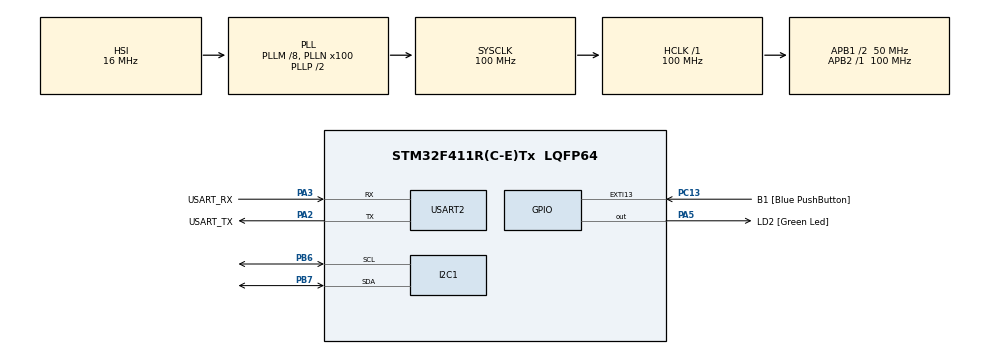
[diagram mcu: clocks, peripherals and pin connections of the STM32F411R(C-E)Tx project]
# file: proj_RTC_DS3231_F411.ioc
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Mcu.Family=STM32F4
Mcu.Name=STM32F411R(C-E)Tx
Mcu.Package=LQFP64
NVIC.PriorityGroup=NVIC_PRIORITYGROUP_0
PA13.GPIO_Label=TMS
PA13.Mode=Serial_Wire
PA13.Signal=SYS_JTMS-SWDIO
PA14.GPIO_Label=TCK
PA14.Mode=Serial_Wire
PA14.Signal=SYS_JTCK-SWCLK
PA2.GPIO_Label=USART_TX
PA2.Mode=Asynchronous
PA2.Signal=USART2_TX
PA3.GPIO_Label=USART_RX
PA3.Mode=Asynchronous
PA3.Signal=USART2_RX
PA5.GPIO_Label=LD2 [Green Led]
PA5.Signal=GPIO_Output
PB3.GPIO_Label=SWO
PB3.Signal=SYS_JTDO-SWO
PB6.Mode=I2C
PB6.Signal=I2C1_SCL
PB7.Mode=I2C
PB7.Signal=I2C1_SDA
PC13-ANTI_TAMP.GPIO_Label=B1 [Blue PushButton]
PC13-ANTI_TAMP.GPIO_ModeDefaultEXTI=GPIO_MODE_IT_FALLING
PC13-ANTI_TAMP.Signal=GPXTI13
PC14-OSC32_IN.Mode=LSE-External-Oscillator
PC14-OSC32_IN.Signal=RCC_OSC32_IN
PC15-OSC32_OUT.Mode=LSE-External-Oscillator
PC15-OSC32_OUT.Signal=RCC_OSC32_OUT
PH0\ -\ OSC_IN.Mode=HSE-External-Clock-Source
PH0\ -\ OSC_IN.Signal=RCC_OSC_IN
PH1\ -\ OSC_OUT.Mode=HSE-External-Clock-Source
PH1\ -\ OSC_OUT.Signal=RCC_OSC_OUT
ProjectManager.HeapSize=0x200
ProjectManager.StackSize=0x400
ProjectManager.TargetToolchain=STM32CubeIDE
RCC.48MHZClocksFreq_Value=50000000
RCC.AHBFreq_Value=100000000
RCC.APB1CLKDivider=RCC_HCLK_DIV2
RCC.APB1Freq_Value=50000000
RCC.APB1TimFreq_Value=100000000
RCC.APB2Freq_Value=100000000
RCC.APB2TimFreq_Value=100000000
RCC.CortexFreq_Value=100000000
RCC.FLatency-AdvancedSettings=FLASH_LATENCY_3
RCC.HCLKFreq_Value=100000000
RCC.HSE_VALUE=8000000
RCC.HSI_VALUE=16000000
RCC.PLLM=8
RCC.PLLN=100
RCC.SYSCLKFreq_VALUE=100000000
RCC.SYSCLKSource=RCC_SYSCLKSOURCE_PLLCLK
RCC.VCOOutputFreq_Value=200000000
USART2.VirtualMode=VM_ASYNC
board=NUCLEO-F411RE

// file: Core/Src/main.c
/* USER CODE BEGIN Header */
/**
  ******************************************************************************
  * @file           : main.c
  * @brief          : Main program body
  ******************************************************************************
  * @attention
  *
  * Copyright (c) 2025 STMicroelectronics.
  * All rights reserved.
  *
  * This software is licensed under terms that can be found in the LICENSE file
  * in the root directory of this software component.
  * If no LICENSE file comes with this software, it is provided AS-IS.
  *
  ******************************************************************************
  */
/* USER CODE END Header */
#include "main.h"

/* USER CODE BEGIN Includes */
#include <stdio.h>
#include <stdbool.h>
#include "ds3231.h"
/* USER CODE END Includes */

I2C_HandleTypeDef hi2c1;

UART_HandleTypeDef huart2;

/* USER CODE BEGIN PV */
_RTC rtc = {
    .Year       = 25,    // 2025
    .Month      = 11,
    .Date       = 17,
    .DaysOfWeek = MONDAY,
    .Hour       = 03,
    .Min        = 28,
    .Sec        = 41
};

uint8_t regVal;
float rtcTemp;
/* USER CODE END PV */

void SystemClock_Config(void);
static void MX_GPIO_Init(void);
static void MX_USART2_UART_Init(void);
static void MX_I2C1_Init(void);

/* USER CODE BEGIN 0 */
int _write(int file, char *ptr, int len)
{
	HAL_UART_Transmit(&huart2, (uint8_t *)ptr, len, HAL_MAX_DELAY);
	return len;
}

void I2C_Scan(void)
{
    printf("Scanning I2C...\r\n");

    for (uint8_t addr = 1; addr < 128; addr++)
    {
        if (HAL_I2C_IsDeviceReady(&hi2c1, addr << 1, 1, 10) == HAL_OK)
        {
            printf("Found device at 0x%02X\r\n", addr);
        }
    }

    printf("Scan done.\r\n");
}
/* USER CODE END 0 */

int main(void)
{

  /* MCU Configuration--------------------------------------------------------*/

  /* Reset of all peripherals, Initializes the Flash interface and the Systick. */
  HAL_Init();

  /* Configure the system clock */
  SystemClock_Config();

  /* Initialize all configured peripherals */
  MX_GPIO_Init();
  MX_USART2_UART_Init();
  MX_I2C1_Init();
  /* USER CODE BEGIN 2 */
  I2C_Scan();
  printf("DS3231 System Initialized Successfully...\r\n");

  DS3231_Init(&hi2c1);
  DS3231_SetTime(&rtc);

  /* Configure Alarm1 */
  DS3231_ClearAlarm1();
  DS3231_SetAlarm1(ALARM_MODE_SEC_MATCHED, 17, 3, 29, 30);
  /* USER CODE END 2 */

  /* Infinite loop */
  while (1)
  {

    /* USER CODE BEGIN 3 */
	    DS3231_GetTime(&rtc);
	    printf("Time: %02d:%02d:%02d, Date: %02d/%02d/20%02d, DayOfWeek: %d\r\n",
	           rtc.Hour, rtc.Min, rtc.Sec,
	           rtc.Date, rtc.Month, rtc.Year,
	           rtc.DaysOfWeek);

	    DS3231_ReadTemperature(&rtcTemp);
	    printf("Temperature: %.3f\r\n", rtcTemp);

	    ReadRegister(DS3231_REG_STATUS, &regVal);
	    if(regVal & DS3231_STA_A1F)
	    {
	      regVal &= ~DS3231_STA_A1F;
	      WriteRegister(DS3231_REG_STATUS, regVal);
	    }

	    HAL_Delay(1000);
  }
  /* USER CODE END 3 */
}

void SystemClock_Config(void)
{
  RCC_OscInitTypeDef RCC_OscInitStruct = {0};
  RCC_ClkInitTypeDef RCC_ClkInitStruct = {0};

  /** Configure the main internal regulator output voltage
  */
  __HAL_RCC_PWR_CLK_ENABLE();
  __HAL_PWR_VOLTAGESCALING_CONFIG(PWR_REGULATOR_VOLTAGE_SCALE1);

  /** Initializes the RCC Oscillators according to the specified parameters
  * in the RCC_OscInitTypeDef structure.
  */
  RCC_OscInitStruct.OscillatorType = RCC_OSCILLATORTYPE_HSI;
  RCC_OscInitStruct.HSIState = RCC_HSI_ON;
  RCC_OscInitStruct.HSICalibrationValue = RCC_HSICALIBRATION_DEFAULT;
  RCC_OscInitStruct.PLL.PLLState = RCC_PLL_ON;
  RCC_OscInitStruct.PLL.PLLSource = RCC_PLLSOURCE_HSI;
  RCC_OscInitStruct.PLL.PLLM = 8;
  RCC_OscInitStruct.PLL.PLLN = 100;
  RCC_OscInitStruct.PLL.PLLP = RCC_PLLP_DIV2;
  RCC_OscInitStruct.PLL.PLLQ = 4;
  if (HAL_RCC_OscConfig(&RCC_OscInitStruct) != HAL_OK)
  {
    Error_Handler();
  }

  /** Initializes the CPU, AHB and APB buses clocks
  */
  RCC_ClkInitStruct.ClockType = RCC_CLOCKTYPE_HCLK|RCC_CLOCKTYPE_SYSCLK
                              |RCC_CLOCKTYPE_PCLK1|RCC_CLOCKTYPE_PCLK2;
  RCC_ClkInitStruct.SYSCLKSource = RCC_SYSCLKSOURCE_PLLCLK;
  RCC_ClkInitStruct.AHBCLKDivider = RCC_SYSCLK_DIV1;
  RCC_ClkInitStruct.APB1CLKDivider = RCC_HCLK_DIV2;
  RCC_ClkInitStruct.APB2CLKDivider = RCC_HCLK_DIV1;

  if (HAL_RCC_ClockConfig(&RCC_ClkInitStruct, FLASH_LATENCY_3) != HAL_OK)
  {
    Error_Handler();
  }
}

static void MX_I2C1_Init(void)
{

  hi2c1.Instance = I2C1;
  hi2c1.Init.ClockSpeed = 100000;
  hi2c1.Init.DutyCycle = I2C_DUTYCYCLE_2;
  hi2c1.Init.OwnAddress1 = 0;
  hi2c1.Init.AddressingMode = I2C_ADDRESSINGMODE_7BIT;
  hi2c1.Init.DualAddressMode = I2C_DUALADDRESS_DISABLE;
  hi2c1.Init.OwnAddress2 = 0;
  hi2c1.Init.GeneralCallMode = I2C_GENERALCALL_DISABLE;
  hi2c1.Init.NoStretchMode = I2C_NOSTRETCH_DISABLE;
  if (HAL_I2C_Init(&hi2c1) != HAL_OK)
  {
    Error_Handler();
  }

}

static void MX_USART2_UART_Init(void)
{

  huart2.Instance = USART2;
  huart2.Init.BaudRate = 115200;
  huart2.Init.WordLength = UART_WORDLENGTH_8B;
  huart2.Init.StopBits = UART_STOPBITS_1;
  huart2.Init.Parity = UART_PARITY_NONE;
  huart2.Init.Mode = UART_MODE_TX_RX;
  huart2.Init.HwFlowCtl = UART_HWCONTROL_NONE;
  huart2.Init.OverSampling = UART_OVERSAMPLING_16;
  if (HAL_UART_Init(&huart2) != HAL_OK)
  {
    Error_Handler();
  }

}

static void MX_GPIO_Init(void)
{
  GPIO_InitTypeDef GPIO_InitStruct = {0};

  /* GPIO Ports Clock Enable */
  __HAL_RCC_GPIOC_CLK_ENABLE();
  __HAL_RCC_GPIOH_CLK_ENABLE();
  __HAL_RCC_GPIOA_CLK_ENABLE();
  __HAL_RCC_GPIOB_CLK_ENABLE();

  /*Configure GPIO pin Output Level */
  HAL_GPIO_WritePin(LD2_GPIO_Port, LD2_Pin, GPIO_PIN_RESET);

  /*Configure GPIO pin : B1_Pin */
  GPIO_InitStruct.Pin = B1_Pin;
  GPIO_InitStruct.Mode = GPIO_MODE_IT_FALLING;
  GPIO_InitStruct.Pull = GPIO_NOPULL;
  HAL_GPIO_Init(B1_GPIO_Port, &GPIO_InitStruct);

  /*Configure GPIO pin : LD2_Pin */
  GPIO_InitStruct.Pin = LD2_Pin;
  GPIO_InitStruct.Mode = GPIO_MODE_OUTPUT_PP;
  GPIO_InitStruct.Pull = GPIO_NOPULL;
  GPIO_InitStruct.Speed = GPIO_SPEED_FREQ_LOW;
  HAL_GPIO_Init(LD2_GPIO_Port, &GPIO_InitStruct);

}

void Error_Handler(void)
{
  __disable_irq();
  while (1)
  {
  }
}
